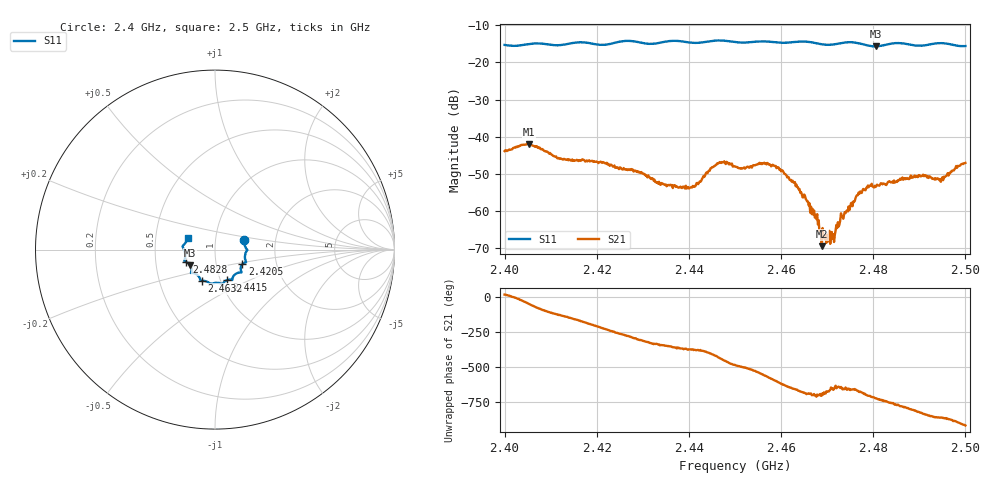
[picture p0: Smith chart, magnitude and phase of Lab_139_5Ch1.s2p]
# Hz S RI R 50
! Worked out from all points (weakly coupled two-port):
!   601 points, 2.4 GHz to 2.5 GHz, reference 50 ohm
!   highest |S21| = -42.01 dB at 2.4053 GHz (marker M1); lowest = -69.4 dB at 2.4688 GHz (marker M2)
!   lowest |S11| = -15.7 dB at 2.4805 GHz (marker M3), VSWR 1.39, Z = 37.3 - j6.69 ohm
!   |S11| at or under -10 dB: start of sweep to end of sweep
!   S12 and S22 are empty: the file has one direction only
!   S11 on the Smith chart (normalised r, x): 2.4 GHz: 1.38, +0.15; 2.4205 GHz: 1.34, -0.23; 2.4415 GHz: 1.07, -0.38; 2.4632 GHz: 0.82, -0.29; 2.4828 GHz: 0.72, -0.10; 2.5 GHz: 0.73, +0.10
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2.4e9  0.1638 0.0515  0.00601 0.00227  0 0  0 0
2.405333e9  0.1769 0.00287  0.00533 -0.00587  0 0  0 0
2.411833e9  0.1667 -0.035  -0.00295 -0.00418  0 0  0 0
2.416667e9  0.1729 -0.0699  -0.00474 -0.000774  0 0  0 0
2.4205e9  0.1521 -0.0816  -0.00383 0.00239  0 0  0 0
2.433333e9  0.1005 -0.1515  0.00215 0.000913  0 0  0 0
2.4415e9  0.0657 -0.1706  0.00211 -0.000691  0 0  0 0
2.446333e9  0.0407 -0.193  0.00156 -0.00407  0 0  0 0
2.45e9  0.0244 -0.1863  -0.00221 -0.00333  0 0  0 0
2.457167e9  -0.027 -0.1885  -0.00376 0.00222  0 0  0 0
2.463167e9  -0.0732 -0.1739  0.00103 0.0019  0 0  0 0
2.466667e9  -0.0822 -0.1669  0.000858 0.000302  0 0  0 0
2.468833e9  -0.09 -0.1505  0.000322 0.000101  0 0  0 0
2.471167e9  -0.1105 -0.134  0.000159 0.000395  0 0  0 0
2.473333e9  -0.1285 -0.1302  0.000403 0.000741  0 0  0 0
2.476667e9  -0.1324 -0.1248  0.00102 0.00128  0 0  0 0
2.4805e9  -0.139 -0.0873  0.0021 -0.00013  0 0  0 0
2.482833e9  -0.1588 -0.07  0.00206 -0.00089  0 0  0 0
2.483333e9  -0.1626 -0.068  0.00211 -0.00133  0 0  0 0
2.490333e9  -0.1667 -0.0181  -0.000823 -0.00281  0 0  0 0
2.494667e9  -0.1807 0.0181  -0.00192 -0.00156  0 0  0 0
2.5e9  -0.1528 0.0646  -0.00424 0.00134  0 0  0 0
